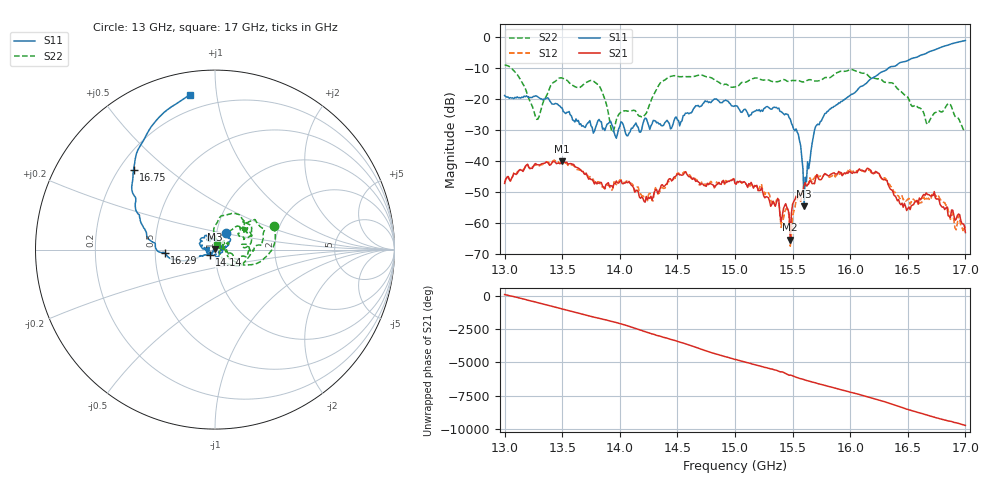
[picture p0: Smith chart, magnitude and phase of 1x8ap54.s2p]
!Keysight Technologies,P9374A,MY57211807,A.19.30.04
!Date: Friday, May 08, 2026 15:00:34
!Correction: S11(C  2-Port  )
!S21(C  2-Port  )
!S12(C  2-Port  )
!S22(C  2-Port  )
!S2P File: Measurements: S11, S21, S12, S22:
# Hz S  dB  R 50
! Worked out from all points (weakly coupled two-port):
!   401 points, 13 GHz to 17 GHz, reference 50 ohm
!   highest |S21| = -40.14 dB at 13.5 GHz (marker M1); lowest = -65.4 dB at 15.48 GHz (marker M2)
!   lowest |S11| = -54.5 dB at 15.6 GHz (marker M3), VSWR 1.00, Z = 50.1 + j0.162 ohm
!   |S11| at or under -10 dB: start of sweep to 16.33 GHz
!   |S22| runs from -30.7 to -9.1 dB; largest |S21 - S12| = 0.0011
!   S11 on the Smith chart (normalised r, x): 13 GHz: 1.11, +0.21; 14.14 GHz: 0.94, -0.05; 16.29 GHz: 0.56, -0.02; 16.75 GHz: 0.26, +0.39; 17 GHz: 0.12, +0.85
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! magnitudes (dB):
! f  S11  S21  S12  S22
! 13 GHz  -18.9  -47.2  -46.9  -9.1
! 13.28 GHz  -19.1  -41.2  -41.2  -26.6
! 13.5 GHz  -23.0  -40.1  -40.2  -13.3
! 13.67 GHz  -28.8  -43.3  -43.5  -15.9
! 13.82 GHz  -26.6  -47.1  -46.7  -15.8
! 13.94 GHz  -29.0  -48.5  -48.8  -30.7
! 14.14 GHz  -27.8  -49.6  -49.5  -24.1
! 14.34 GHz  -28.1  -49.6  -50.4  -15.5
! 14.56 GHz  -25.3  -43.8  -43.4  -12.7
! 15 GHz  -22.2  -47.3  -46.6  -16.1
! 15.23 GHz  -23.6  -48.6  -47.4  -13.8
! 15.48 GHz  -26.5  -65.4  -67.4  -14.2
! 15.55 GHz  -31.4  -50.7  -51.4  -14.1
! 15.6 GHz  -54.5  -47.8  -47.4  -14.5
! 15.67 GHz  -34.2  -47.3  -46.8  -13.9
! 15.8 GHz  -24.0  -44.5  -44.7  -13.1
! 16.29 GHz  -11.1  -46.1  -45.6  -14.4
! 16.34 GHz  -9.9  -48.5  -47.4  -14.8
! 16.5 GHz  -7.6  -55.3  -52.3  -19.5
! 16.75 GHz  -3.9  -52.3  -51.1  -24.2
! 16.86 GHz  -2.5  -57.9  -57.2  -21.5
! 17 GHz  -1.2  -63.0  -61.4  -30.5
